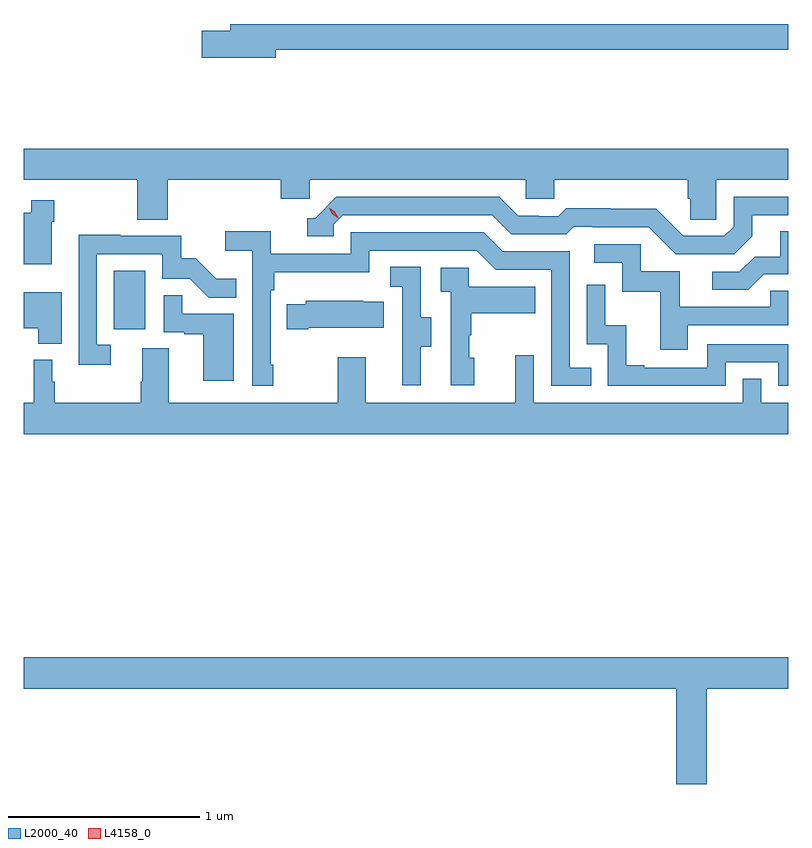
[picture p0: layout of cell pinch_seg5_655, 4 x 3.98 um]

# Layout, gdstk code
import gdstk
lib = gdstk.Library(unit=1e-6, precision=1e-09)
def R(c, l, rs):  # rectangles x0, y0, x1, y1
    for r in rs: c.add(gdstk.rectangle(r[:2], r[2:], *l))
def P(c, l, *ps):  # polygons
    for p in ps: c.add(gdstk.Polygon(p, *l))
L2000_40 = (2000, 40)
L4158_0 = (4158, 0)

pinch_seg5_655 = lib.new_cell('pinch_seg5_655')
R(pinch_seg5_655, L2000_40, [(1065.53,851.982,1065.694,852.289)])
P(pinch_seg5_655, L2000_40, [(1066.378,853.444),(1069.059,853.444),(1069.059,853.58),(1066.139,853.58),(1066.139,853.544),(1065.99,853.544),(1065.99,853.402),(1066.378,853.402)],
  [(1065.812,852.764),(1066.403,852.764),(1066.403,852.666),(1066.554,852.666),(1066.554,852.764),(1067.685,852.764),(1067.685,852.666),(1067.835,852.666),(1067.835,852.764),(1068.533,852.764),(1068.533,852.666),(1068.547,852.666),(1068.547,852.556),(1068.684,852.556),(1068.684,852.764),(1069.059,852.764),(1069.059,852.928),(1065.059,852.928),(1065.059,852.764),(1065.652,852.764),(1065.652,852.556),(1065.812,852.556)],
  [(1068.871,852.469),(1068.871,852.579),(1069.059,852.579),(1069.059,852.675),(1068.774,852.675),(1068.774,852.519),(1068.726,852.471),(1068.51,852.471),(1068.368,852.613),(1068.132,852.613),(1068.132,852.616),(1067.899,852.616),(1067.857,852.573),(1067.754,852.573),(1067.754,852.576),(1067.647,852.576),(1067.548,852.675),(1066.695,852.675),(1066.584,852.564),(1066.541,852.564),(1066.541,852.468),(1066.68,852.468),(1066.68,852.531),(1066.728,852.579),(1067.511,852.579),(1067.61,852.48),(1067.899,852.48),(1067.938,852.519),(1068.037,852.519),(1068.037,852.516),(1068.33,852.516),(1068.471,852.375),(1068.777,852.375)],
  [(1065.204,852.545),(1065.217,852.545),(1065.217,852.658),(1065.096,852.658),(1065.096,852.592),(1065.059,852.592),(1065.059,852.323),(1065.204,852.323)],
  [(1066.363,851.797),(1066.35,851.797),(1066.35,852.185),(1066.37,852.185),(1066.37,852.281),(1066.866,852.281),(1066.866,852.393),(1067.43,852.393),(1067.529,852.294),(1067.82,852.294),(1067.82,851.685),(1068.029,851.685),(1068.029,851.781),(1067.916,851.781),(1067.916,852.39),(1067.566,852.39),(1067.467,852.489),(1066.77,852.489),(1066.77,852.378),(1066.352,852.378),(1066.352,852.494),(1066.113,852.494),(1066.113,852.392),(1066.254,852.392),(1066.254,851.685),(1066.363,851.685)],
  [(1068.931,852.27),(1069.059,852.27),(1069.059,852.494),(1069.019,852.494),(1069.019,852.362),(1068.884,852.362),(1068.804,852.282),(1068.663,852.282),(1068.663,852.189),(1068.85,852.189)],
  [(1065.514,851.901),(1065.441,851.901),(1065.441,852.375),(1065.783,852.375),(1065.783,852.246),(1065.927,852.246),(1066.025,852.148),(1066.169,852.148),(1066.169,852.247),(1066.065,852.247),(1065.958,852.354),(1065.882,852.354),(1065.882,852.471),(1065.563,852.471),(1065.563,852.476),(1065.345,852.476),(1065.345,851.796),(1065.514,851.796)],
  [(1068.535,852.003),(1069.059,852.003),(1069.059,852.183),(1068.967,852.183),(1068.967,852.099),(1068.493,852.099),(1068.493,852.285),(1068.288,852.285),(1068.288,852.426),(1068.045,852.426),(1068.045,852.33),(1068.192,852.33),(1068.192,852.177),(1068.391,852.177),(1068.391,851.874),(1068.535,851.874)],
  [(1067.137,851.89),(1067.191,851.89),(1067.191,852.045),(1067.136,852.045),(1067.136,852.308),(1066.977,852.308),(1066.977,852.205),(1067.04,852.205),(1067.04,851.901),(1067.039,851.901),(1067.039,851.688),(1067.137,851.688)],
  [(1067.416,851.832),(1067.391,851.832),(1067.391,851.951),(1067.401,851.951),(1067.401,852.065),(1067.735,852.065),(1067.735,852.205),(1067.388,852.205),(1067.388,852.303),(1067.241,852.303),(1067.241,852.179),(1067.292,852.179),(1067.292,851.688),(1067.416,851.688)],
  [(1068.732,851.808),(1069.008,851.808),(1069.008,851.685),(1069.059,851.685),(1069.059,851.904),(1068.636,851.904),(1068.636,851.781),(1068.307,851.781),(1068.307,851.794),(1068.212,851.794),(1068.212,852.002),(1068.102,852.002),(1068.102,852.214),(1068.006,852.214),(1068.006,851.904),(1068.114,851.904),(1068.114,851.685),(1068.732,851.685)],
  [(1065.256,852.175),(1065.059,852.175),(1065.059,851.987),(1065.134,851.987),(1065.134,851.906),(1065.256,851.906)],
  [(1066.156,852.063),(1065.887,852.063),(1065.887,852.161),(1065.792,852.161),(1065.792,851.967),(1065.899,851.967),(1065.899,851.955),(1065.998,851.955),(1065.998,851.712),(1066.156,851.712)],
  [(1066.546,851.99),(1066.943,851.99),(1066.943,852.127),(1066.835,852.127),(1066.835,852.13),(1066.533,852.13),(1066.533,852.112),(1066.435,852.112),(1066.435,851.983),(1066.546,851.983)],
  [(1066.702,851.836),(1066.702,851.596),(1065.817,851.596),(1065.817,851.882),(1065.677,851.882),(1065.677,851.708),(1065.67,851.708),(1065.67,851.596),(1065.22,851.596),(1065.22,851.708),(1065.208,851.708),(1065.208,851.821),(1065.11,851.821),(1065.11,851.596),(1065.059,851.596),(1065.059,851.432),(1069.059,851.432),(1069.059,851.596),(1068.918,851.596),(1068.918,851.723),(1068.822,851.723),(1068.822,851.596),(1067.727,851.596),(1067.727,851.845),(1067.63,851.845),(1067.63,851.596),(1066.849,851.596),(1066.849,851.836)],
  [(1068.633,850.1),(1069.059,850.1),(1069.059,850.264),(1065.059,850.264),(1065.059,850.1),(1068.473,850.1),(1068.473,849.601),(1068.633,849.601)])
P(pinch_seg5_655, L4158_0, [(1066.703,852.564),(1066.672,852.584),(1066.657,852.617),(1066.657,852.617),(1066.657,852.617),(1066.687,852.597),(1066.703,852.565),(1066.703,852.564)])

lib.write_gds('pinch_seg5_655.gds')
